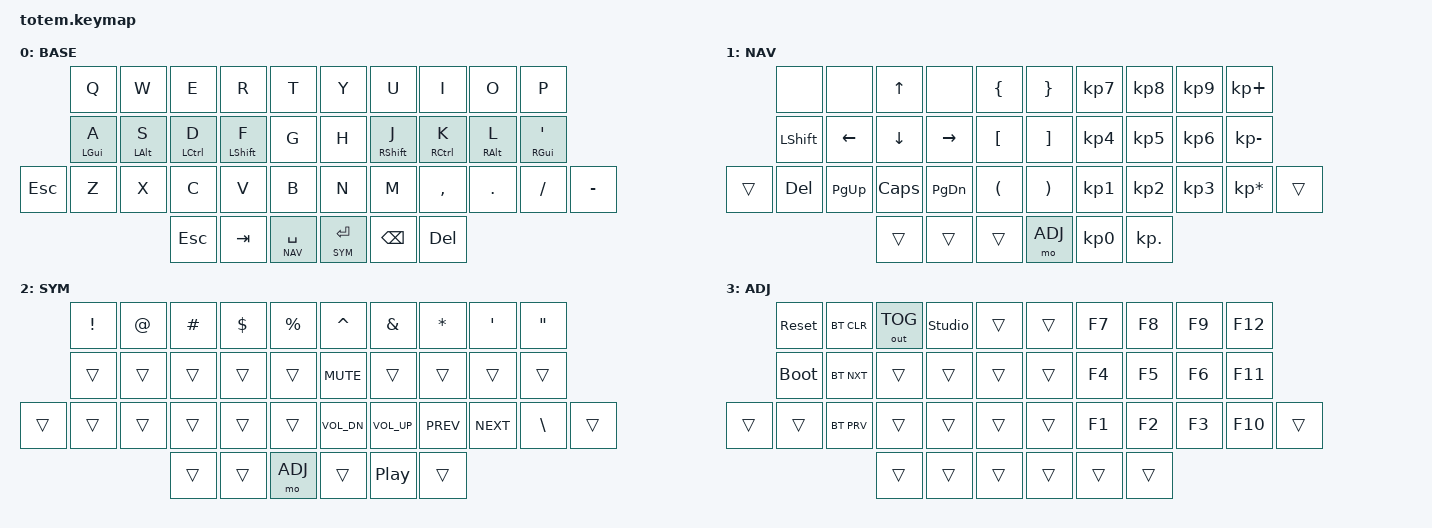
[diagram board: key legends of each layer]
//
//                                                        ▀▀▀▀▀     ▀▀▀▀▀          ▀▀█▀▀
//                                                        ▄▀▀▀▄  ▄  ▄▀▀▀▄  ▄  ▄▀▀▀▄  █  ▄▀▀▀▄
//                                                        █   █  █  █   █  █  █   █  █  █   █
//                                                         ▀▀▀   █   ▀▀▀   █   ▀▀▀   ▀   ▀▀▀
//                                                               █      ▄▄▄█▄▄▄    █   █  
//                                                               ▀      █  █  █     █▄█
//                                                             ▀▀▀▀▀    █  █  █      ▀
//                                                                      ▀  ▀  ▀
//
// ▄▄▄▄▄▄▄▄▄▄▄▄▄▄▄▄▄▄▄▄▄▄▄▄▄▄▄▄▄▄▄▄▄▄▄▄▄▄▄▄▄▄▄▄▄▄▄▄▄▄▄▄▄▄▄▄▄▄▄▄▄▄▄▄▄▄▄▄▄▄▄▄▄▄▄▄▄▄▄▄▄▄▄▄▄▄▄▄▄▄▄▄▄▄▄▄▄▄▄▄▄▄▄▄▄▄▄▄▄▄▄▄▄▄▄▄▄▄▄▄▄▄▄▄▄▄▄▄▄▄▄▄▄▄▄▄▄▄▄▄▄▄▄▄▄▄▄▄▄
       

#include <behaviors.dtsi>
#include <dt-bindings/zmk/keys.h>
#include <dt-bindings/zmk/bt.h>
#include <dt-bindings/zmk/outputs.h>

#define BASE 0
#define NAV  1
#define SYM  2
#define ADJ  3

&mt {
  quick-tap-ms = <100>;
  global-quick-tap;
  flavor = "tap-preferred";
  tapping-term-ms = <170>;
};

/ {
    keymap {
        compatible = "zmk,keymap";

        base_layer {
            label= "BASE";
            bindings = <
                &kp Q       &kp W       &kp E       &kp R       &kp T           &kp Y       &kp U       &kp I       &kp O       &kp P
                &mt LGUI A  &mt LALT S  &mt LCTRL D &mt LSHFT F &kp G           &kp H       &mt RSHFT J &mt RCTRL K &mt RALT L  &mt RGUI SQT
    &kp ESC     &kp Z       &kp X       &kp C       &kp V       &kp B           &kp N       &kp M       &kp COMMA   &kp DOT     &kp FSLH    &kp MINUS
                                        &kp ESC     &kp TAB     &lt NAV SPACE   &lt SYM RET &kp BSPC    &kp DEL
            >;
        };

        nav_layer {
            label= "NAV";
            bindings = <
                &none       &none       &kp UP      &none       &kp LBRC        &kp RBRC    &kp KP_N7   &kp KP_N8   &kp KP_N9   &kp KP_PLUS
                &kp LSHFT   &kp LEFT    &kp DOWN    &kp RIGHT   &kp LBKT        &kp RBKT    &kp KP_N4   &kp KP_N5   &kp KP_N6   &kp KP_MINUS
    &trans      &kp DEL     &kp PG_UP   &kp CAPS    &kp PG_DN   &kp LPAR        &kp RPAR    &kp KP_N1   &kp KP_N2   &kp KP_N3   &kp KP_MULTIPLY &trans      
                                        &trans      &trans      &trans          &mo ADJ     &kp KP_N0   &kp KP_DOT      
            >;
        };

        sym_layer {
            label= "SYM";
            bindings = <
                &kp EXCL    &kp AT      &kp HASH    &kp DLLR    &kp PRCNT       &kp CARET   &kp AMPS    &kp STAR    &kp SQT     &kp DQT       
                &trans      &trans      &trans      &trans      &trans          &kp C_MUTE  &trans      &trans      &trans      &trans 
    &trans      &trans      &trans      &trans      &trans      &trans          &kp C_VOL_DN &kp C_VOL_UP &kp C_PREV &kp C_NEXT &kp BSLH   &trans         
                                        &trans      &trans      &mo ADJ         &trans      &kp C_PP    &trans      
            >;
        };

        adjust_layer {
            label= "ADJ";
            bindings = <
                &sys_reset  &bt BT_CLR   &out OUT_TOG &studio_unlock &trans     &trans      &kp F7      &kp F8      &kp F9      &kp F12
                &bootloader &bt BT_NXT   &trans       &trans         &trans     &trans      &kp F4      &kp F5      &kp F6      &kp F11  
    &trans      &trans      &bt BT_PRV   &trans       &trans         &trans     &trans      &kp F1      &kp F2      &kp F3      &kp F10     &trans         
                                         &trans       &trans         &trans     &trans      &trans      &trans      
            >;
        };
    };
};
